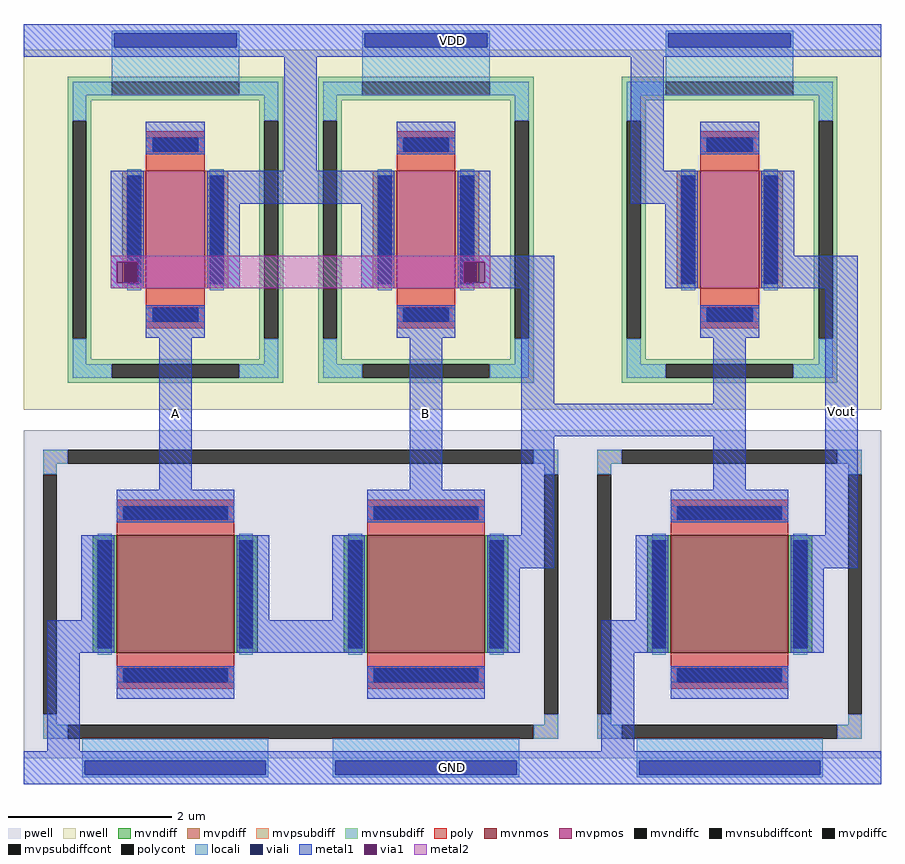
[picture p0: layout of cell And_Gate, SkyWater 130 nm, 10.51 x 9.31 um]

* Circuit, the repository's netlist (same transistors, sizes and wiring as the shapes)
* NGSPICE file created from And_Gate.ext - technology: sky130A

.subckt sky130_fd_pr__pfet_g5v0d10v5_CY7YBN a_n130_n144# a_72_n144# w_n330_n441# a_n72_n241#
X0 a_72_n144# a_n72_n241# a_n130_n144# w_n330_n441# sky130_fd_pr__pfet_g5v0d10v5 ad=0.4176 pd=3.46 as=0.4176 ps=3.46 w=1.44 l=0.72
.ends

.subckt sky130_fd_pr__nfet_g5v0d10v5_3Y2F6P a_n202_n144# a_n144_n232# a_144_n144#
+ a_n336_n366#
X0 a_144_n144# a_n144_n232# a_n202_n144# a_n336_n366# sky130_fd_pr__nfet_g5v0d10v5 ad=0.4176 pd=3.46 as=0.4176 ps=3.46 w=1.44 l=1.44
.ends

.subckt Inverter VDD Vin Vout GND
XXM1 VDD Vout VDD Vin sky130_fd_pr__pfet_g5v0d10v5_CY7YBN
XXM2 GND Vin Vout GND sky130_fd_pr__nfet_g5v0d10v5_3Y2F6P
.ends

.subckt Nand_Gate VDD A B Vout GND
XXM1 VDD Vout VDD B sky130_fd_pr__pfet_g5v0d10v5_CY7YBN
XXM2 Vout VDD VDD A sky130_fd_pr__pfet_g5v0d10v5_CY7YBN
XXM3 m1_2428_n226# B Vout GND sky130_fd_pr__nfet_g5v0d10v5_3Y2F6P
XXM4 GND A m1_2428_n226# GND sky130_fd_pr__nfet_g5v0d10v5_3Y2F6P
.ends

.subckt And_Gate GND VDD A B Vout
XInverter_0 VDD Inverter_0/Vin Vout GND Inverter
XNand_Gate_0 VDD A B Inverter_0/Vin GND Nand_Gate
.ends

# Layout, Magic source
magic
tech sky130A
magscale 1 2
<< metal1 >>
rect -1558 1555 544 1635
rect -1209 414 -1163 946
rect -595 414 -549 946
rect -338 625 132 705
rect 406 302 486 1067
rect -1558 -227 544 -147
use Inverter  Inverter_0
transform 1 0 -1566 0 1 676
box 1366 -903 2110 959
use Nand_Gate  Nand_Gate_0
transform 1 0 -3464 0 1 320
box 1906 -547 3264 1315
<< labels >>
flabel metal1 -1558 1572 544 1618 0 FreeSans 160 0 0 0 VDD
port 1 nsew
flabel metal1 -1209 414 -1163 946 0 FreeSans 160 0 0 0 A
port 2 nsew
flabel metal1 -595 414 -549 946 0 FreeSans 160 0 0 0 B
port 3 nsew
flabel metal1 406 302 486 1067 0 FreeSans 160 0 0 0 Vout
port 5 nsew
flabel metal1 -1558 -210 544 -164 0 FreeSans 160 0 0 0 GND
port 0 nsew
<< end >>

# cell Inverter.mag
magic
tech sky130A
magscale 1 2
<< nwell >>
rect 1366 892 2110 896
rect 1366 14 1408 892
rect 2068 14 2110 892
<< mvpsubdiff >>
rect 1414 -118 1474 -84
rect 2002 -118 2062 -84
rect 1414 -144 1448 -118
rect 1414 -758 1448 -732
rect 2028 -144 2062 -118
rect 2028 -758 2062 -732
rect 1414 -792 1474 -758
rect 2002 -792 2062 -758
<< mvpsubdiffcont >>
rect 1474 -118 2002 -84
rect 1414 -732 1448 -144
rect 2028 -732 2062 -144
rect 1474 -792 2002 -758
<< locali >>
rect 1582 936 1894 942
rect 1582 902 1588 936
rect 1888 902 1894 936
rect 1582 784 1894 902
rect 1414 -118 1474 -84
rect 2002 -118 2062 -84
rect 1414 -144 1448 -118
rect 1414 -758 1448 -732
rect 2028 -144 2062 -118
rect 2028 -758 2062 -732
rect 1414 -792 1474 -758
rect 2002 -792 2062 -758
rect 1510 -846 1966 -792
rect 1510 -880 1516 -846
rect 1960 -880 1966 -846
rect 1510 -886 1966 -880
<< viali >>
rect 1588 902 1888 936
rect 1516 -880 1960 -846
<< metal1 >>
rect 1366 936 2110 959
rect 1366 902 1588 936
rect 1888 902 2110 936
rect 1366 879 2110 902
rect 1496 599 1576 879
rect 1666 640 1810 720
rect 1496 519 1660 599
rect 1580 311 1660 519
rect 1816 391 1896 599
rect 1816 311 2052 391
rect 1666 190 1810 270
rect 1698 -182 1778 190
rect 1594 -262 1882 -182
rect 1972 -294 2052 311
rect 1508 -502 1588 -294
rect 1424 -582 1588 -502
rect 1888 -374 2052 -294
rect 1888 -582 1968 -374
rect 1424 -823 1504 -582
rect 1594 -694 1882 -614
rect 1366 -846 2110 -823
rect 1366 -880 1516 -846
rect 1960 -880 2110 -846
rect 1366 -903 2110 -880
use sky130_fd_pr__pfet_g5v0d10v5_CY7YBN  XM1
transform 1 0 1738 0 1 455
box -330 -441 330 441
use sky130_fd_pr__nfet_g5v0d10v5_3Y2F6P  XM2
transform 1 0 1738 0 1 -438
box -372 -402 372 402
<< labels >>
flabel metal1 1366 -886 2110 -840 0 FreeSans 160 0 0 0 GND
port 0 nsew
flabel metal1 1972 -374 2052 391 0 FreeSans 160 0 0 0 Vout
port 3 nsew
flabel metal1 1366 879 2110 959 0 FreeSans 160 0 0 0 VDD
port 1 nsew
flabel metal1 1698 -262 1778 270 0 FreeSans 160 0 0 0 Vin
port 2 nsew
<< end >>

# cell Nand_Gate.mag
magic
tech sky130A
magscale 1 2
<< nwell >>
rect 1906 370 1948 1252
rect 3222 370 3264 1252
<< mvpsubdiff >>
rect 1954 238 2014 272
rect 3156 238 3216 272
rect 1954 212 1988 238
rect 1954 -402 1988 -376
rect 3182 212 3216 238
rect 3182 -402 3216 -376
rect 1954 -436 2014 -402
rect 3156 -436 3216 -402
<< mvpsubdiffcont >>
rect 2014 238 3156 272
rect 1954 -376 1988 212
rect 3182 -376 3216 212
rect 2014 -436 3156 -402
<< locali >>
rect 2122 1292 2434 1298
rect 2122 1258 2128 1292
rect 2428 1258 2434 1292
rect 2122 1140 2434 1258
rect 2736 1292 3048 1298
rect 2736 1258 2742 1292
rect 3042 1258 3048 1292
rect 2736 1140 3048 1258
rect 1954 238 2014 272
rect 3156 238 3216 272
rect 1954 212 1988 238
rect 1954 -402 1988 -376
rect 3182 212 3216 238
rect 3182 -402 3216 -376
rect 1954 -436 2014 -402
rect 3156 -436 3216 -402
rect 2050 -490 2506 -436
rect 2050 -524 2056 -490
rect 2500 -524 2506 -490
rect 2050 -530 2506 -524
rect 2664 -490 3120 -436
rect 2664 -524 2670 -490
rect 3114 -524 3120 -490
rect 2664 -530 3120 -524
<< viali >>
rect 2128 1258 2428 1292
rect 2742 1258 3042 1292
rect 2056 -524 2500 -490
rect 2670 -524 3114 -490
<< metal1 >>
rect 1906 1292 3264 1315
rect 1906 1258 2128 1292
rect 2428 1258 2742 1292
rect 3042 1258 3264 1292
rect 1906 1235 3264 1258
rect 2206 996 2350 1076
rect 2545 955 2625 1235
rect 2820 996 2964 1076
rect 2120 733 2200 955
rect 2120 681 2134 733
rect 2186 681 2200 733
rect 2120 667 2200 681
rect 2356 875 2814 955
rect 2356 667 2436 875
rect 2734 667 2814 875
rect 2970 747 3050 955
rect 2970 733 3206 747
rect 2970 681 2984 733
rect 3036 681 3206 733
rect 2970 667 3206 681
rect 2206 546 2350 626
rect 2820 546 2964 626
rect 2238 174 2318 546
rect 2852 174 2932 546
rect 2134 94 2422 174
rect 2748 94 3036 174
rect 3126 62 3206 667
rect 2048 -146 2128 62
rect 1964 -226 2128 -146
rect 2428 -146 2508 62
rect 2662 -146 2742 62
rect 2428 -226 2742 -146
rect 3042 -18 3206 62
rect 3042 -226 3122 -18
rect 1964 -467 2044 -226
rect 2134 -338 2422 -258
rect 2748 -338 3036 -258
rect 1906 -490 3264 -467
rect 1906 -524 2056 -490
rect 2500 -524 2670 -490
rect 3114 -524 3264 -490
rect 1906 -547 3264 -524
<< via1 >>
rect 2134 681 2186 733
rect 2984 681 3036 733
<< metal2 >>
rect 2120 733 3050 747
rect 2120 681 2134 733
rect 2186 681 2984 733
rect 3036 681 3050 733
rect 2120 667 3050 681
use sky130_fd_pr__pfet_g5v0d10v5_CY7YBN  XM1
transform 1 0 2892 0 1 811
box -330 -441 330 441
use sky130_fd_pr__pfet_g5v0d10v5_CY7YBN  XM2
transform 1 0 2278 0 1 811
box -330 -441 330 441
use sky130_fd_pr__nfet_g5v0d10v5_3Y2F6P  XM3
transform 1 0 2892 0 1 -82
box -372 -402 372 402
use sky130_fd_pr__nfet_g5v0d10v5_3Y2F6P  XM4
transform 1 0 2278 0 1 -82
box -372 -402 372 402
<< labels >>
flabel metal1 1906 -530 3264 -484 0 FreeSans 160 0 0 0 GND
port 0 nsew
flabel metal1 1906 1252 3264 1298 0 FreeSans 160 0 0 0 VDD
port 1 nsew
flabel metal1 3126 -18 3206 747 0 FreeSans 160 0 0 0 Vout
port 4 nsew
flabel metal1 2852 94 2932 626 0 FreeSans 160 0 0 0 B
port 6 nsew
flabel metal1 2238 94 2318 626 0 FreeSans 160 0 0 0 A
port 2 nsew
<< end >>

# cell sky130_fd_pr__pfet_g5v0d10v5_CY7YBN: kit device sky130_fd_pr__pfet_g5v0d10v5, w 1.44 l 0.72 m 1 nf 1 diffcov 100 polycov 100 guard 1 glc 1 grc 1 gtc 1 gbc 1 tbcov 100 rlcov 100 topc 1 botc 1 poverlap 0 doverlap 1 lmin 0.50 wmin 0.42 class mosfet compatible {sky130_fd_pr__pfet_01v8 sky130_fd_pr__pfet_01v8_lvt sky130_fd_pr__pfet_01v8_hvt sky130_fd_pr__pfet_g5v0d10v5} full_metal 1 viasrc 100 viadrn 100 viagate 100 viagb 0 viagr 0 viagl 0 viagt 0

# cell sky130_fd_pr__nfet_g5v0d10v5_3Y2F6P: kit device sky130_fd_pr__nfet_g5v0d10v5, w 1.44 l 1.44 m 1 nf 1 diffcov 100 polycov 100 guard 1 glc 1 grc 1 gtc 1 gbc 1 tbcov 100 rlcov 100 topc 1 botc 1 poverlap 0 doverlap 1 lmin 0.50 wmin 0.42 class mosfet compatible {sky130_fd_pr__nfet_01v8 sky130_fd_pr__nfet_01v8_lvt sky130_fd_bs_flash__special_sonosfet_star sky130_fd_pr__nfet_g5v0d10v5 sky130_fd_pr__nfet_05v0_nvt sky130_fd_pr__nfet_03v3_nvt} full_metal 1 viasrc 100 viadrn 100 viagate 100 viagb 0 viagr 0 viagl 0 viagt 0
